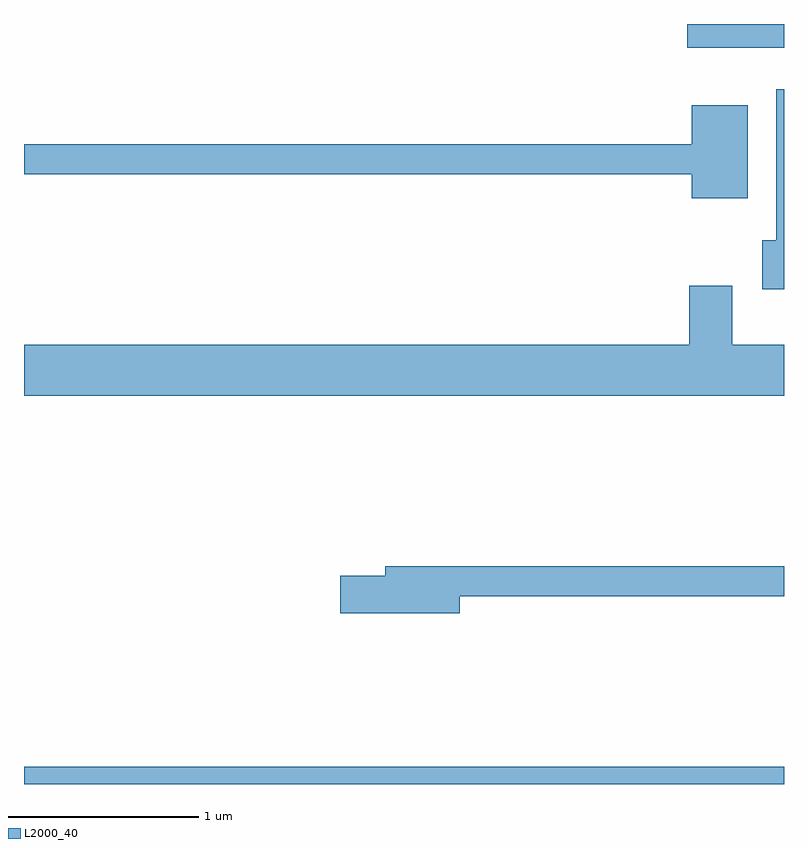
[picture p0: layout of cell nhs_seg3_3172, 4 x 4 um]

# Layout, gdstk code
import gdstk
lib = gdstk.Library(unit=1e-6, precision=1e-09)
def R(c, l, rs):  # rectangles x0, y0, x1, y1
    for r in rs: c.add(gdstk.rectangle(r[:2], r[2:], *l))
def P(c, l, *ps):  # polygons
    for p in ps: c.add(gdstk.Polygon(p, *l))
L2000_40 = (2000, 40)

nhs_seg3_3172 = lib.new_cell('nhs_seg3_3172')
R(nhs_seg3_3172, L2000_40, [(277.611,1203.892,281.611,1203.984), (281.103,1207.766,281.611,1207.892)])
P(nhs_seg3_3172, L2000_40, [(281.611,1207.549),(281.571,1207.549),(281.571,1206.754),(281.496,1206.754),(281.496,1206.496),(281.611,1206.496)],
  [(281.419,1207.464),(281.126,1207.464),(281.126,1207.259),(277.611,1207.259),(277.611,1207.101),(281.126,1207.101),(281.126,1206.976),(281.419,1206.976)],
  [(281.611,1206.204),(281.339,1206.204),(281.339,1206.514),(281.111,1206.514),(281.111,1206.204),(277.611,1206.204),(277.611,1205.936),(281.611,1205.936)],
  [(279.904,1204.881),(281.611,1204.881),(281.611,1205.039),(279.511,1205.039),(279.511,1204.989),(279.276,1204.989),(279.276,1204.791),(279.904,1204.791)])

lib.write_gds('nhs_seg3_3172.gds')
